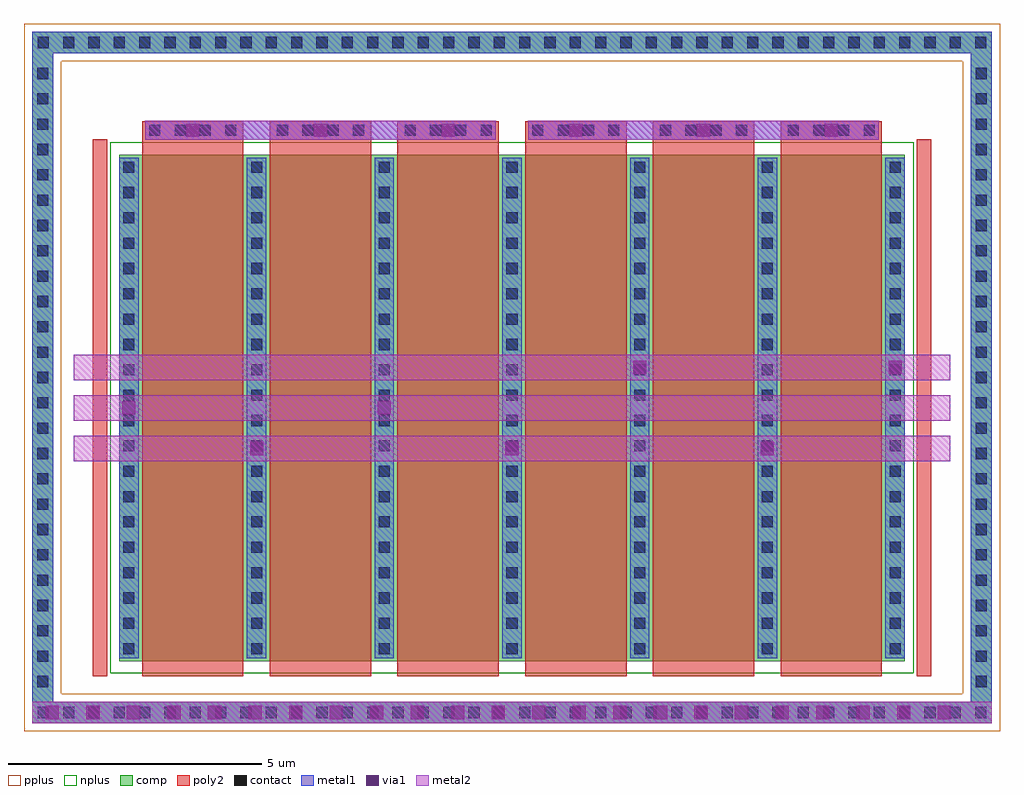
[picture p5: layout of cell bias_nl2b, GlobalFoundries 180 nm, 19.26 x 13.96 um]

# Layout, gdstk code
import gdstk
lib = gdstk.Library(unit=1e-6, precision=1e-09)
def R(c, l, rs):  # rectangles x0, y0, x1, y1
    for r in rs: c.add(gdstk.rectangle(r[:2], r[2:], *l))
def A(c, l, x, y, w, h, nx, ny, dx, dy):  # array of equal rectangles
    R(c, l, [(x+i*dx, y+j*dy, x+i*dx+w, y+j*dy+h) for i in range(nx) for j in range(ny)])
comp = (22, 0)
poly2 = (30, 0)
pplus = (31, 0)
nplus = (32, 0)
contact = (33, 0)
metal1 = (34, 0)
via1 = (35, 0)
metal2 = (36, 0)

bias_nl2b = lib.new_cell('bias_nl2b')
R(bias_nl2b, comp, [(0,0,18.94,0.42), (0,0,0.42,13.64), (18.52,0,18.94,13.64), (1.72,1.22,17.22,11.22), (0,13.22,18.94,13.64)])
A(bias_nl2b, poly2, 2.17, 0.92, 2, 10.96, 6, 1, 2.52, 0)
R(bias_nl2b, poly2, [(1.2,0.92,1.48,11.52), (17.46,0.92,17.74,11.52)])
R(bias_nl2b, pplus, [(-0.16,-0.16,19.1,0.58), (-0.16,-0.16,0.58,13.8), (18.36,-0.16,19.1,13.8), (-0.16,13.06,19.1,13.8)])
R(bias_nl2b, nplus, [(1.54,0.98,17.4,11.46)])
A(bias_nl2b, contact, 0.11, 0.1, 0.22, 0.22, 38, 2, 0.5, 13.22)
A(bias_nl2b, contact, 0.1, 0.71, 0.22, 0.22, 1, 25, 0, 0.5)
A(bias_nl2b, contact, 18.62, 0.71, 0.22, 0.22, 1, 25, 0, 0.5)
A(bias_nl2b, contact, 1.8, 1.36, 0.22, 0.22, 7, 20, 2.52, 0.5)
A(bias_nl2b, contact, 2.31, 11.59, 0.22, 0.22, 4, 1, 0.5, 0)
A(bias_nl2b, contact, 4.83, 11.59, 0.22, 0.22, 4, 1, 0.5, 0)
A(bias_nl2b, contact, 7.35, 11.59, 0.22, 0.22, 4, 1, 0.5, 0)
A(bias_nl2b, contact, 9.87, 11.59, 0.22, 0.22, 4, 1, 0.5, 0)
A(bias_nl2b, contact, 12.39, 11.59, 0.22, 0.22, 4, 1, 0.5, 0)
A(bias_nl2b, contact, 14.91, 11.59, 0.22, 0.22, 4, 1, 0.5, 0)
A(bias_nl2b, metal1, 1.72, 1.28, 0.38, 9.88, 7, 1, 2.52, 0)
R(bias_nl2b, metal1, [(0,0,18.94,0.42), (0,0,0.42,13.64), (18.52,0,18.94,13.64), (2.23,11.51,9.15,11.89), (9.79,11.51,16.71,11.89), (0,13.22,18.94,13.64)])
A(bias_nl2b, via1, 0.27, 0.08, 0.26, 0.26, 23, 1, 0.8, 0)
A(bias_nl2b, via1, 4.3, 5.29, 0.26, 0.26, 3, 1, 5.04, 0)
A(bias_nl2b, via1, 3.04, 11.57, 0.26, 0.26, 6, 1, 2.52, 0)
R(bias_nl2b, via1, [(1.78,6.09,2.04,6.35), (6.82,6.09,7.08,6.35), (11.86,6.89,12.12,7.15), (16.9,6.89,17.16,7.15)])
A(bias_nl2b, metal2, 0.82, 5.17, 17.3, 0.5, 1, 3, 0, 0.8)
R(bias_nl2b, metal2, [(0,0,18.94,0.42), (2.23,11.51,9.15,11.89), (9.79,11.51,16.71,11.89)])

lib.write_gds('bias_nl2b.gds')
